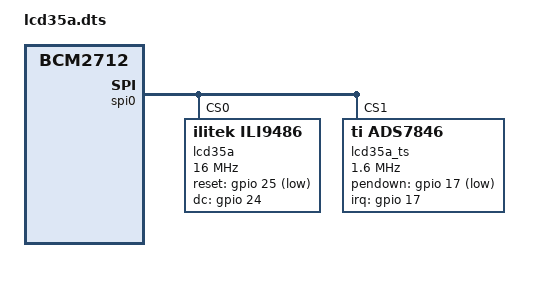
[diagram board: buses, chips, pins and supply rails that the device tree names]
/dts-v1/;
/plugin/;

/ {
	compatible = "brcm,bcm2835", "brcm,bcm2836", "brcm,bcm2837", "brcm,bcm2708", "brcm,bcm2709", "brcm,bcm2710", "brcm,bcm2711", "brcm,bcm2712";

	fragment@0 {
		target = <&spi0>;
		__overlay__ {
			status = "okay";

			spidev@0 {
				status = "disabled";
			};

			spidev@1 {
				status = "disabled";
			};
		};
	};

	fragment@1 {
		target = <&gpio>;
		__overlay__ {
			lcd35a_pins: lcd35a_pins {
				brcm,pins = <17 25 24>;
				brcm,function = <0 0 0>; /* in in in */
			};
		};
	};

	fragment@2 {
		target = <&spi0>;
		__overlay__ {
			/* needed to avoid dtc warning */
			#address-cells = <1>;
			#size-cells = <0>;

			lcd35a: lcd35a@0 {
				compatible = "ilitek,ili9486";
				reg = <0>;
				pinctrl-names = "default";
				pinctrl-0 = <&lcd35a_pins>;

				spi-max-frequency = <16000000>;
				txbuflen = <32768>;
				rotate = <90>;
				bgr = <0>;
				fps = <30>;
				buswidth = <8>;
				regwidth = <16>;
				reset-gpios = <&gpio 25 1>;
				dc-gpios = <&gpio 24 0>;
				debug = <0>;

				init = <0x10000f1 0x36 0x04 0x00 0x3c 0x0f 0x8f 0x10000f2 0x18 0xa3 0x12 0x02 0xb2 0x12 0xff 0x10 0x00 0x10000f8 0x21 0x04 0x10000f9 0x00 0x08 0x1000036 0x08 0x10000b4 0x00 0x10000c1 0x41 0x10000c5 0x00 0x91 0x80 0x00 0x10000e0 0x0f 0x1f 0x1c 0x0c 0x0f 0x08 0x48 0x98 0x37 0x0a 0x13 0x04 0x11 0x0d 0x00 0x10000e1 0x0f 0x32 0x2e 0x0b 0x0d 0x05 0x47 0x75 0x37 0x06 0x10 0x03 0x24 0x20 0x00 0x100003a 0x55 0x1000011 0x1000036 0x28 0x20000ff 0x1000029>;
			};

			lcd35a_ts: lcd35a-ts@1 {
				compatible = "ti,ads7846";
				reg = <1>;

				spi-max-frequency = <1600000>;
				interrupts = <17 2>; /* high-to-low edge triggered */
				interrupt-parent = <&gpio>;
				pendown-gpio = <&gpio 17 1>;
				ti,x-plate-ohms = /bits/ 16 <60>;
				ti,pressure-max = /bits/ 16 <255>;
			};
		};
	};
	__overrides__ {
		speed =		<&lcd35a>,"spi-max-frequency:0";
		txbuflen =	<&lcd35a>,"txbuflen:0";
		rotate =	<&lcd35a>,"rotate:0";
		fps =		<&lcd35a>,"fps:0";
		bgr =		<&lcd35a>,"bgr:0";
		debug =		<&lcd35a>,"debug:0";
		swapxy =	<&lcd35a_ts>,"ti,swap-xy?";
	};
};
